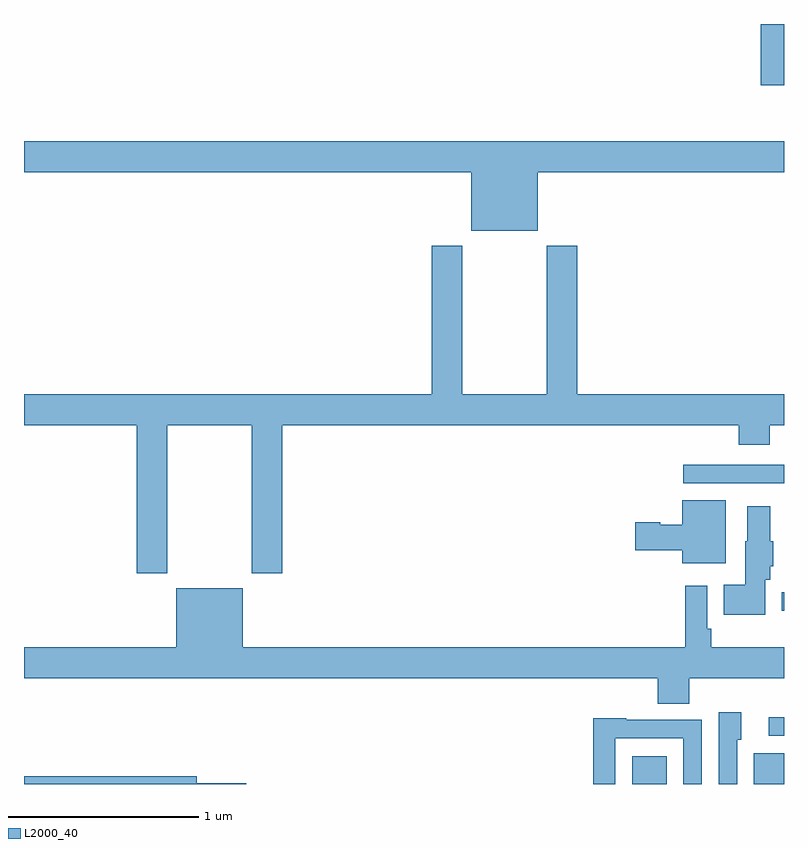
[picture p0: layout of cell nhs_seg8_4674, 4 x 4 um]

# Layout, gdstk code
import gdstk
lib = gdstk.Library(unit=1e-6, precision=1e-09)
def R(c, l, rs):  # rectangles x0, y0, x1, y1
    for r in rs: c.add(gdstk.rectangle(r[:2], r[2:], *l))
def P(c, l, *ps):  # polygons
    for p in ps: c.add(gdstk.Polygon(p, *l))
L2000_40 = (2000, 40)

nhs_seg8_4674 = lib.new_cell('nhs_seg8_4674')
R(nhs_seg8_4674, L2000_40, [(396.2,1159.9,396.382,1160.047), (396.842,1159.9,397,1160.061), (396.921,1160.154,397,1160.252), (396.987,1160.813,397,1160.91), (396.471,1161.483,397,1161.579), (396.878,1163.578,397,1163.9)])
P(nhs_seg8_4674, L2000_40, [(395.704,1163.12),(397,1163.12),(397,1163.284),(393,1163.284),(393,1163.12),(395.354,1163.12),(395.354,1162.811),(395.704,1162.811)],
  [(393.753,1161.788),(394.198,1161.788),(394.198,1161.009),(394.358,1161.009),(394.358,1161.788),(396.761,1161.788),(396.761,1161.686),(396.926,1161.686),(396.926,1161.788),(397,1161.788),(397,1161.952),(395.912,1161.952),(395.912,1162.732),(395.752,1162.732),(395.752,1161.952),(395.307,1161.952),(395.307,1162.732),(395.147,1162.732),(395.147,1161.952),(393,1161.952),(393,1161.788),(393.593,1161.788),(393.593,1161.009),(393.753,1161.009)],
  [(396.694,1161.394),(396.464,1161.394),(396.464,1161.265),(396.348,1161.265),(396.348,1161.278),(396.216,1161.278),(396.216,1161.131),(396.464,1161.131),(396.464,1161.062),(396.694,1161.062)],
  [(396.901,1160.976),(396.928,1160.976),(396.928,1161.045),(396.943,1161.045),(396.943,1161.177),(396.928,1161.177),(396.928,1161.361),(396.806,1161.361),(396.806,1161.177),(396.797,1161.177),(396.797,1160.95),(396.682,1160.95),(396.682,1160.792),(396.901,1160.792)],
  [(396.5,1160.456),(397,1160.456),(397,1160.62),(396.617,1160.62),(396.617,1160.716),(396.597,1160.716),(396.597,1160.944),(396.481,1160.944),(396.481,1160.62),(394.15,1160.62),(394.15,1160.929),(393.8,1160.929),(393.8,1160.62),(393,1160.62),(393,1160.456),(396.335,1160.456),(396.335,1160.323),(396.5,1160.323)],
  [(396.753,1160.133),(396.775,1160.133),(396.775,1160.278),(396.657,1160.278),(396.657,1159.9),(396.753,1159.9)],
  [(396.111,1160.142),(396.471,1160.142),(396.471,1159.9),(396.567,1159.9),(396.567,1160.238),(396.171,1160.238),(396.171,1160.245),(395.995,1160.245),(395.995,1159.9),(396.111,1159.9)],
  [(394.171,1159.904),(393.91,1159.904),(393.91,1159.94),(393,1159.94),(393,1159.9),(394.171,1159.9)])

lib.write_gds('nhs_seg8_4674.gds')
